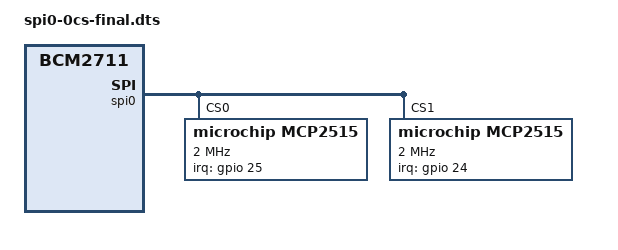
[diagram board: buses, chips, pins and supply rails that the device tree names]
/dts-v1/;
/plugin/;

/ {
    compatible = "brcm,bcm2711";

    fragment@0 {
        target = <&spi0>;
        __overlay__ {
            #address-cells = <1>;
            #size-cells = <0>;
            /* Use hardware chip selects instead of GPIO-controlled CS */
            status = "okay";

            mcp2515@0 {
                compatible = "microchip,mcp2515";
                reg = <0>;  /* Chipselect 0 */
                spi-max-frequency = <2000000>;  /* 2 MHz - lower for reliability */
                interrupt-parent = <&gpio>;
                interrupts = <25 0x2>;  /* GPIO 25, falling edge trigger */
                oscillator-frequency = <16000000>;  /* 16 MHz crystal */
                status = "okay";
            };

            mcp2515@1 {
                compatible = "microchip,mcp2515";
                reg = <1>;  /* Chipselect 1 */
                spi-max-frequency = <2000000>;  /* 2 MHz - lower for reliability */
                interrupt-parent = <&gpio>;
                interrupts = <24 0x2>;  /* GPIO 24, falling edge trigger */
                oscillator-frequency = <16000000>;  /* 16 MHz crystal */
                status = "okay";
            };
        };
    };

    /* Disable the default SPI devices */
    fragment@1 {
        target = <&spidev0>;
        __overlay__ {
            status = "disabled";
        };
    };

    fragment@2 {
        target = <&spidev1>;
        __overlay__ {
            status = "disabled";
        };
    };
};
